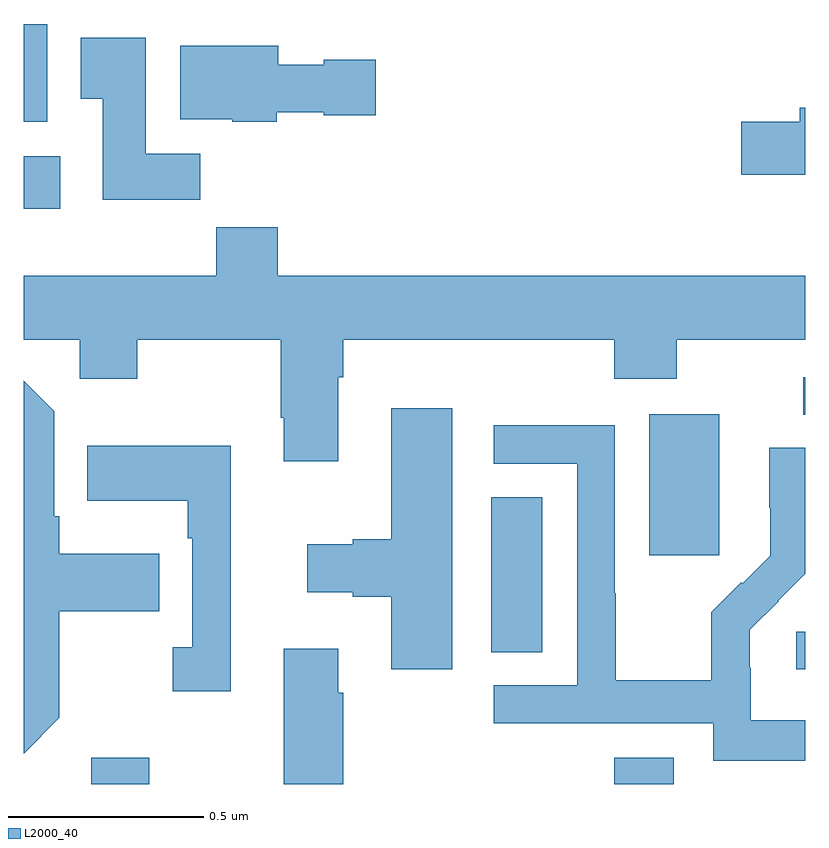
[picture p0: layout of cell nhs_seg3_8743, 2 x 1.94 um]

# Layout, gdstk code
import gdstk
lib = gdstk.Library(unit=1e-6, precision=1e-09)
def R(c, l, rs):  # rectangles x0, y0, x1, y1
    for r in rs: c.add(gdstk.rectangle(r[:2], r[2:], *l))
def P(c, l, *ps):  # polygons
    for p in ps: c.add(gdstk.Polygon(p, *l))
L2000_40 = (2000, 40)

nhs_seg3_8743 = lib.new_cell('nhs_seg3_8743')
R(nhs_seg3_8743, L2000_40, [(219.173,746.4,219.321,746.467), (220.511,746.4,220.663,746.467), (220.977,746.693,221,746.79), (220.196,746.737,220.327,747.134), (220.601,746.985,220.78,747.346), (220.995,747.345,221,747.441), (219,747.872,219.094,748.006), (219,748.094,219.061,748.344)])
P(nhs_seg3_8743, L2000_40, [(219.452,748.012),(219.313,748.012),(219.313,748.309),(219.146,748.309),(219.146,748.153),(219.203,748.153),(219.203,747.894),(219.452,747.894)],
  [(219.648,748.118),(219.768,748.118),(219.768,748.111),(219.901,748.111),(219.901,748.253),(219.768,748.253),(219.768,748.24),(219.652,748.24),(219.652,748.288),(219.401,748.288),(219.401,748.1),(219.534,748.1),(219.534,748.094),(219.648,748.094)],
  [(221,748.13),(220.985,748.13),(220.985,748.094),(220.836,748.094),(220.836,747.959),(221,747.959)],
  [(219.805,747.44),(219.818,747.44),(219.818,747.536),(220.511,747.536),(220.511,747.437),(220.671,747.437),(220.671,747.536),(221,747.536),(221,747.7),(219.65,747.7),(219.65,747.824),(219.493,747.824),(219.493,747.7),(219,747.7),(219,747.536),(219.144,747.536),(219.144,747.437),(219.291,747.437),(219.291,747.536),(219.658,747.536),(219.658,747.337),(219.665,747.337),(219.665,747.225),(219.805,747.225)],
  [(219.091,746.569),(219.091,746.842),(219.347,746.842),(219.347,746.989),(219.091,746.989),(219.091,747.085),(219.078,747.085),(219.078,747.354),(219,747.432),(219,746.478)],
  [(220.096,747.361),(219.941,747.361),(219.941,747.026),(219.842,747.026),(219.842,747.013),(219.726,747.013),(219.726,746.891),(219.842,746.891),(219.842,746.879),(219.941,746.879),(219.941,746.694),(220.096,746.694)],
  [(221,746.563),(220.86,746.563),(220.86,746.697),(220.858,746.697),(220.858,746.794),(220.932,746.868),(220.931,746.869),(221,746.938),(221,747.26),(220.908,747.26),(220.908,747.106),(220.91,747.106),(220.91,746.984),(220.839,746.913),(220.836,746.916),(220.759,746.839),(220.759,746.665),(220.515,746.665),(220.515,746.888),(220.512,746.888),(220.512,747.318),(220.203,747.318),(220.203,747.219),(220.416,747.219),(220.416,746.652),(220.203,746.652),(220.203,746.556),(220.764,746.556),(220.764,746.459),(221,746.459)],
  [(219.53,747.265),(219.163,747.265),(219.163,747.125),(219.42,747.125),(219.42,747.029),(219.432,747.029),(219.432,746.75),(219.381,746.75),(219.381,746.637),(219.53,746.637)],
  [(219.818,746.633),(219.805,746.633),(219.805,746.746),(219.665,746.746),(219.665,746.4),(219.818,746.4)])

lib.write_gds('nhs_seg3_8743.gds')
